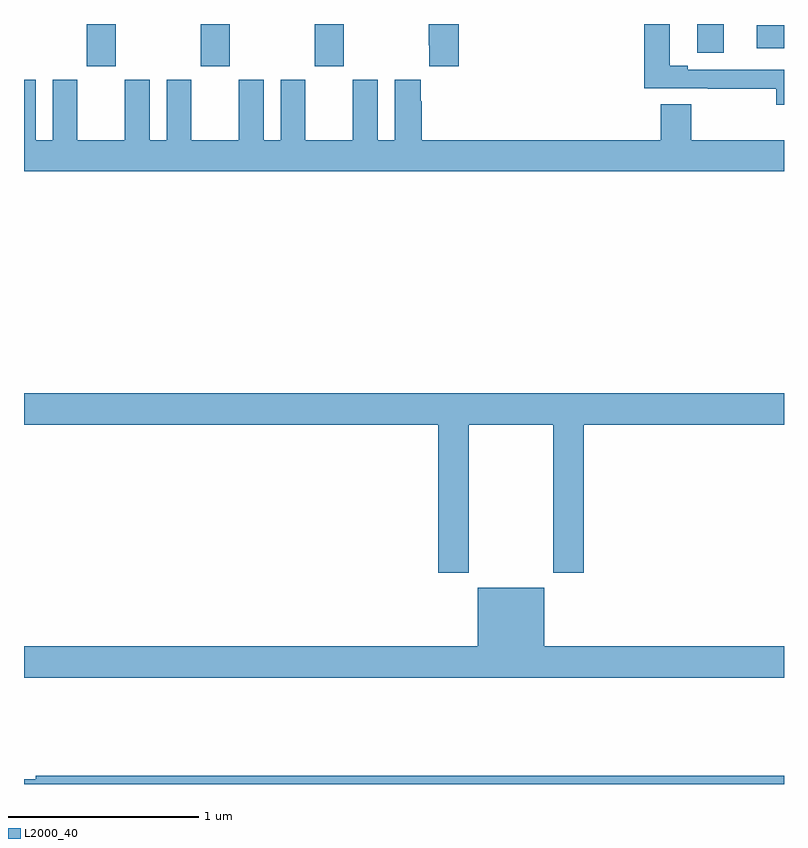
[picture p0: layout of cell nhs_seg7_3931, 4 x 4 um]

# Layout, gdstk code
import gdstk
lib = gdstk.Library(unit=1e-6, precision=1e-09)
def R(c, l, rs):  # rectangles x0, y0, x1, y1
    for r in rs: c.add(gdstk.rectangle(r[:2], r[2:], *l))
def A(c, l, x, y, w, h, nx, ny, dx, dy):  # array of equal rectangles
    R(c, l, [(x+i*dx, y+j*dy, x+i*dx+w, y+j*dy+h) for i in range(nx) for j in range(ny)])
def P(c, l, *ps):  # polygons
    for p in ps: c.add(gdstk.Polygon(p, *l))
L2000_40 = (2000, 40)

nhs_seg7_3931 = lib.new_cell('nhs_seg7_3931')
A(nhs_seg7_3931, L2000_40, 359.329, 1059.777, 0.155, 0.223, 3, 1, 0.6, 0)
R(nhs_seg7_3931, L2000_40, [(362.543,1059.849,362.683,1060), (362.856,1059.872,363,1059.994)])
P(nhs_seg7_3931, L2000_40, [(363,1059.759),(362.494,1059.759),(362.494,1059.779),(362.398,1059.779),(362.398,1060),(362.264,1060),(362.264,1059.663),(362.599,1059.663),(362.599,1059.658),(362.958,1059.658),(362.958,1059.576),(363,1059.576)],
  [(361.289,1060),(361.129,1060),(361.129,1059.889),(361.133,1059.889),(361.133,1059.777),(361.289,1059.777)],
  [(363,1059.388),(362.511,1059.388),(362.511,1059.578),(362.351,1059.578),(362.351,1059.388),(361.094,1059.388),(361.094,1059.593),(361.087,1059.593),(361.087,1059.706),(360.95,1059.706),(360.95,1059.388),(360.862,1059.388),(360.862,1059.706),(360.731,1059.706),(360.731,1059.388),(360.481,1059.388),(360.481,1059.706),(360.35,1059.706),(360.35,1059.388),(360.262,1059.388),(360.262,1059.706),(360.131,1059.706),(360.131,1059.388),(359.881,1059.388),(359.881,1059.706),(359.75,1059.706),(359.75,1059.388),(359.662,1059.388),(359.662,1059.706),(359.531,1059.706),(359.531,1059.388),(359.281,1059.388),(359.281,1059.706),(359.15,1059.706),(359.15,1059.388),(359.062,1059.388),(359.062,1059.706),(359,1059.706),(359,1059.224),(363,1059.224)],
  [(361.341,1057.892),(361.786,1057.892),(361.786,1057.113),(361.946,1057.113),(361.946,1057.892),(363,1057.892),(363,1058.056),(359,1058.056),(359,1057.892),(361.181,1057.892),(361.181,1057.113),(361.341,1057.113)],
  [(363,1056.724),(361.738,1056.724),(361.738,1057.033),(361.388,1057.033),(361.388,1056.724),(359,1056.724),(359,1056.56),(363,1056.56)],
  [(363,1056.044),(359.062,1056.044),(359.062,1056.024),(359,1056.024),(359,1056),(363,1056)])

lib.write_gds('nhs_seg7_3931.gds')
